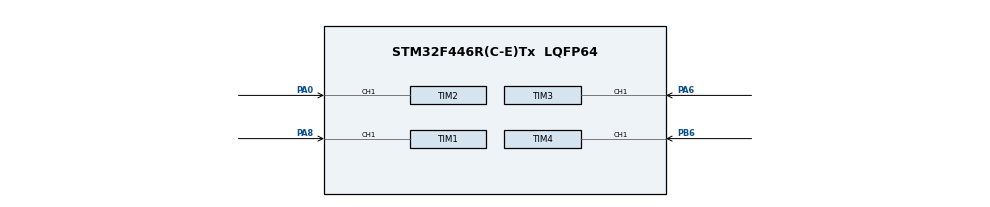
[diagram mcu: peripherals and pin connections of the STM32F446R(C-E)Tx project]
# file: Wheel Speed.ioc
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Mcu.Family=STM32F4
Mcu.Name=STM32F446R(C-E)Tx
Mcu.Package=LQFP64
NVIC.PriorityGroup=NVIC_PRIORITYGROUP_4
NVIC.TIM1_BRK_TIM9_IRQn=true\:0\:0\:false\:false\:true\:true
NVIC.TIM1_CC_IRQn=true\:0\:0\:false\:false\:true\:true
NVIC.TIM1_TRG_COM_TIM11_IRQn=true\:0\:0\:false\:false\:true\:true
NVIC.TIM1_UP_TIM10_IRQn=true\:0\:0\:false\:false\:true\:true
NVIC.TIM2_IRQn=true\:0\:0\:false\:false\:true\:true
NVIC.TIM3_IRQn=true\:0\:0\:false\:false\:true\:true
PA0-WKUP.Signal=S_TIM2_CH1_ETR
PA6.Signal=S_TIM3_CH1
PA8.Signal=S_TIM1_CH1
PB6.Signal=S_TIM4_CH1
ProjectManager.HeapSize=0x200
ProjectManager.StackSize=0x400
ProjectManager.TargetToolchain=MDK-ARM V5
RCC.CortexFreq_Value=16000000
RCC.USBFreq_Value=96000000
RCC.VCOOutputFreq_Value=192000000
SH.S_TIM1_CH1.0=TIM1_CH1,Input_Capture1_from_TI1
SH.S_TIM2_CH1_ETR.0=TIM2_CH1,Input_Capture1_from_TI1
SH.S_TIM3_CH1.0=TIM3_CH1,Input_Capture1_from_TI1
SH.S_TIM4_CH1.0=TIM4_CH1,Input_Capture1_from_TI1
TIM1.Channel-Input_Capture1_from_TI1=TIM_CHANNEL_1
TIM1.ICFilter_CH1=15
TIM1.Period=65535
TIM1.Prescaler=16000
TIM2.Channel-Input_Capture1_from_TI1=TIM_CHANNEL_1
TIM2.ICFilter_CH1=15
TIM2.Period=65535
TIM2.Prescaler=16000
TIM3.Channel-Input_Capture1_from_TI1=TIM_CHANNEL_1
TIM3.ICFilter_CH1=15
TIM3.Period=35536
TIM3.Prescaler=16000
TIM4.Channel-Input_Capture1_from_TI1=TIM_CHANNEL_1
TIM4.ICFilter_CH1=15
TIM4.Period=65535
TIM4.Prescaler=16000
VP_TIM1_VS_ClockSourceINT.Mode=Internal
VP_TIM2_VS_ClockSourceINT.Mode=Internal
VP_TIM3_VS_ClockSourceINT.Mode=Internal
VP_TIM4_VS_ClockSourceINT.Mode=Internal
board=custom

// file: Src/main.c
/**
  ******************************************************************************
  * @file           : main.c
  * @brief          : Main program body
  ******************************************************************************
  ** This notice applies to any and all portions of this file
  * that are not between comment pairs USER CODE BEGIN and
  * USER CODE END. Other portions of this file, whether
  * inserted by the user or by software development tools
  * are owned by their respective copyright owners.
  *
  * COPYRIGHT(c) 2018 STMicroelectronics
  *
  * Redistribution and use in source and binary forms, with or without modification,
  * are permitted provided that the following conditions are met:
  *   1. Redistributions of source code must retain the above copyright notice,
  *      this list of conditions and the following disclaimer.
  *   2. Redistributions in binary form must reproduce the above copyright notice,
  *      this list of conditions and the following disclaimer in the documentation
  *      and/or other materials provided with the distribution.
  *   3. Neither the name of STMicroelectronics nor the names of its contributors
  *      may be used to endorse or promote products derived from this software
  *      without specific prior written permission.
  *
  * THIS SOFTWARE IS PROVIDED BY THE COPYRIGHT HOLDERS AND CONTRIBUTORS "AS IS"
  * AND ANY EXPRESS OR IMPLIED WARRANTIES, INCLUDING, BUT NOT LIMITED TO, THE
  * IMPLIED WARRANTIES OF MERCHANTABILITY AND FITNESS FOR A PARTICULAR PURPOSE ARE
  * DISCLAIMED. IN NO EVENT SHALL THE COPYRIGHT HOLDER OR CONTRIBUTORS BE LIABLE
  * FOR ANY DIRECT, INDIRECT, INCIDENTAL, SPECIAL, EXEMPLARY, OR CONSEQUENTIAL
  * DAMAGES (INCLUDING, BUT NOT LIMITED TO, PROCUREMENT OF SUBSTITUTE GOODS OR
  * SERVICES; LOSS OF USE, DATA, OR PROFITS; OR BUSINESS INTERRUPTION) HOWEVER
  * CAUSED AND ON ANY THEORY OF LIABILITY, WHETHER IN CONTRACT, STRICT LIABILITY,
  * OR TORT (INCLUDING NEGLIGENCE OR OTHERWISE) ARISING IN ANY WAY OUT OF THE USE
  * OF THIS SOFTWARE, EVEN IF ADVISED OF THE POSSIBILITY OF SUCH DAMAGE.
  *
  ******************************************************************************
  */
#include "main.h"
#include "stm32f4xx_hal.h"
#include "tim.h"
#include "gpio.h"

#define pi 3.1415
#define raduis_of_wheel .5
/* USER CODE BEGIN Includes */

/* flages to increment every pulse to calculate the speed after 4 pulses */

uint16_t flage1=0 ;
uint16_t flage2=0 ;
uint16_t flage3=0 ;
uint16_t flage4=0 ;

uint16_t input_capture1=0 ;  // variable to store counter of timer 1 value
uint16_t input_capture2=0 ;	 // variable to store counter of timer 2 value
uint16_t input_capture3=0 ;	 // variable to store counter of timer 3 value
uint16_t input_capture4=0 ;	 // variable to store counter of timer 4 value

float first_wheel_speed =0 ;		// speed of wheel 1
float second_wheel_speed =0 ;  // speed of wheel 2
float third_wheel_speed =0 ;		// speed of wheel 3
float forth_wheel_speed =0 ;		// speed of wheel 4

float avarage_speed =0 ;   		// avarage speed of the car

/* USER CODE END Includes */

/* USER CODE BEGIN PV */
/* Private variables ---------------------------------------------------------*/

/* USER CODE END PV */

void SystemClock_Config(void);

/* USER CODE BEGIN PFP */
/* Private function prototypes -----------------------------------------------*/

/* USER CODE END PFP */

/* USER CODE BEGIN 0 */
void HAL_TIM_IC_CaptureCallback(TIM_HandleTypeDef *htim)
{
 if (htim->Instance==TIM1)
  {
		flage1 ++ ;
}
	 if (htim->Instance==TIM2)
	 {
		flage2 ++ ;
	 }
	  if (htim->Instance==TIM3)
		{
		flage3 ++ ;
		}
			if (htim->Instance==TIM4)
		 {
		flage4 ++ ;
		 }
	 } /* USER CODE END 0 */

int main(void)
{

  /* MCU Configuration----------------------------------------------------------*/

  /* Reset of all peripherals, Initializes the Flash interface and the Systick. */
  HAL_Init();

  /* USER CODE BEGIN Init */
	HAL_TIM_IC_Start_IT(&htim1, TIM_CHANNEL_1);
	HAL_TIM_IC_Start_IT(&htim2, TIM_CHANNEL_1);
	HAL_TIM_IC_Start_IT(&htim3, TIM_CHANNEL_1);
	HAL_TIM_IC_Start_IT(&htim4, TIM_CHANNEL_1);

  /* USER CODE END Init */

  /* Configure the system clock */
  SystemClock_Config();

  /* Initialize all configured peripherals */
  MX_GPIO_Init();
  MX_TIM1_Init();
  MX_TIM2_Init();
  MX_TIM3_Init();
  MX_TIM4_Init();

  /* Infinite loop */
  while (1)
  {

  /* USER CODE BEGIN 3 */
	if (flage1 == 5){
	 input_capture1= __HAL_TIM_GetCompare(&htim1, TIM_CHANNEL_1);    //read TIM1 channel 1 capture value
  __HAL_TIM_SetCounter(&htim1, 0);    //reset counter after input capture interrupt occurs
		first_wheel_speed = (((60*1000 /input_capture1) *(2*pi/60)) * raduis_of_wheel ) ; // 60 to convert to min, 1000 for second, 2pi/60 to convert to rad/sec, *raduis to convert to m/sec
		flage1 =0 ;
	}
	if (flage2 == 5){
	 input_capture2= __HAL_TIM_GetCompare(&htim2, TIM_CHANNEL_1);    //read TIM1 channel 1 capture value
  __HAL_TIM_SetCounter(&htim2, 0);    //reset counter after input capture interrupt occurs
		second_wheel_speed = (((60*1000 /input_capture2) *(2*pi/60)) * raduis_of_wheel ) ; // 60 to convert to min, 1000 for second, 2pi/60 to convert to rad/sec, *raduis to convert to m/sec
		flage2 =0 ;
	}
	if (flage3 == 5){
	 input_capture3= __HAL_TIM_GetCompare(&htim3, TIM_CHANNEL_1);    //read TIM1 channel 1 capture value
  __HAL_TIM_SetCounter(&htim3, 0);    //reset counter after input capture interrupt occurs
		third_wheel_speed = (((60*1000 /input_capture3) *(2*pi/60)) * raduis_of_wheel ) ;// 60 to convert to min, 1000 for second, 2pi/60 to convert to rad/sec, *raduis to convert to m/sec
		flage3 =0 ;
	}
	if (flage4 == 5){
	 input_capture4= __HAL_TIM_GetCompare(&htim4, TIM_CHANNEL_1);    //read TIM1 channel 1 capture value
  __HAL_TIM_SetCounter(&htim4, 0);    //reset counter after input capture interrupt occurs
		forth_wheel_speed = (((60*1000 /input_capture1) *(2*pi/60)) * raduis_of_wheel ) ;// 60 to convert to min, 1000 for second, 2pi/60 to convert to rad/sec, *raduis to convert to m/sec
		flage4 =0 ;
	}

	avarage_speed = ((first_wheel_speed+ second_wheel_speed+ third_wheel_speed+forth_wheel_speed)/4) ; // avarage speed of the car
  }
  /* USER CODE END 3 */

}

void SystemClock_Config(void)
{

  RCC_OscInitTypeDef RCC_OscInitStruct;
  RCC_ClkInitTypeDef RCC_ClkInitStruct;

    /**Configure the main internal regulator output voltage
    */
  __HAL_RCC_PWR_CLK_ENABLE();

  __HAL_PWR_VOLTAGESCALING_CONFIG(PWR_REGULATOR_VOLTAGE_SCALE3);

    /**Initializes the CPU, AHB and APB busses clocks
    */
  RCC_OscInitStruct.OscillatorType = RCC_OSCILLATORTYPE_HSI;
  RCC_OscInitStruct.HSIState = RCC_HSI_ON;
  RCC_OscInitStruct.HSICalibrationValue = 16;
  RCC_OscInitStruct.PLL.PLLState = RCC_PLL_NONE;
  if (HAL_RCC_OscConfig(&RCC_OscInitStruct) != HAL_OK)
  {
    _Error_Handler(__FILE__, __LINE__);
  }

    /**Initializes the CPU, AHB and APB busses clocks
    */
  RCC_ClkInitStruct.ClockType = RCC_CLOCKTYPE_HCLK|RCC_CLOCKTYPE_SYSCLK
                              |RCC_CLOCKTYPE_PCLK1|RCC_CLOCKTYPE_PCLK2;
  RCC_ClkInitStruct.SYSCLKSource = RCC_SYSCLKSOURCE_HSI;
  RCC_ClkInitStruct.AHBCLKDivider = RCC_SYSCLK_DIV1;
  RCC_ClkInitStruct.APB1CLKDivider = RCC_HCLK_DIV1;
  RCC_ClkInitStruct.APB2CLKDivider = RCC_HCLK_DIV1;

  if (HAL_RCC_ClockConfig(&RCC_ClkInitStruct, FLASH_LATENCY_0) != HAL_OK)
  {
    _Error_Handler(__FILE__, __LINE__);
  }

    /**Configure the Systick interrupt time
    */
  HAL_SYSTICK_Config(HAL_RCC_GetHCLKFreq()/1000);

    /**Configure the Systick
    */
  HAL_SYSTICK_CLKSourceConfig(SYSTICK_CLKSOURCE_HCLK);

  /* SysTick_IRQn interrupt configuration */
  HAL_NVIC_SetPriority(SysTick_IRQn, 0, 0);
}

void _Error_Handler(char *file, int line)
{
  while(1)
  {
  }
}

/************************ (C) COPYRIGHT STMicroelectronics *****END OF FILE****/
